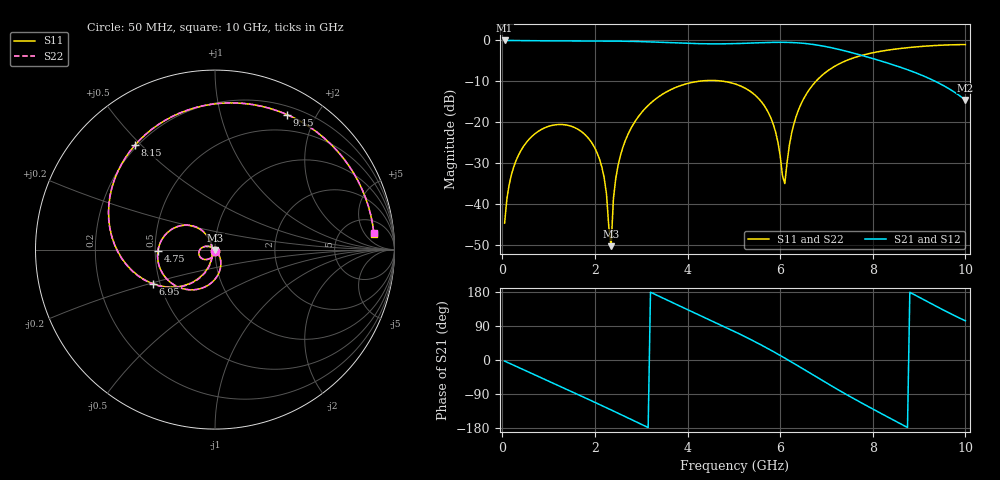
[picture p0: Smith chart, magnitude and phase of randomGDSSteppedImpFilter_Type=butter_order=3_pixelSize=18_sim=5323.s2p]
! freq	dB(S11)	phase(S11)	dB(S12)	phase(S12)
!  dB(S21)	phase(S21)	dB(S22)	phase(S22)
!S-par simulation data
#  GHz  S  DB  R 50
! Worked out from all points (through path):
!   200 points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, 50 MHz to 10 GHz, reference 50 ohm
!   highest |S21| = -0.01 dB at 50 MHz (marker M1); lowest = -14.6 dB at 10 GHz (marker M2)
!   group delay of S21, straight-line fit = 173 ps
!   lowest |S11| = -50.3 dB at 2.35 GHz (marker M3), VSWR 1.01, Z = 50.2 - j0.218 ohm
!   |S11| at or under -10 dB: start of sweep to 4.238 GHz; 4.781 GHz to 6.773 GHz (1.993 GHz wide, 34.5 % of centre)
!   |S22| runs from -50.3 to -1.0 dB; largest |S21 - S12| = 0
!   S11 on the Smith chart (normalised r, x): 50 MHz: 1.00, -0.01; 4.75 GHz: 0.52, -0.01; 6.95 GHz: 0.46, -0.21; 8.15 GHz: 0.19, +0.48; 9.15 GHz: 0.30, +1.63; 10 GHz: 10, +8
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0.05  -44.68 -89.6  -0.01 -2.9  -0.01 -2.9  -44.68 -89.6
0.2  -32.73 -100.6  -0.02 -11.3  -0.02 -11.3  -32.73 -100.6
0.55  -24.53 -121.1  -0.06 -30.8  -0.06 -30.8  -24.53 -121.1
1.75  -22.67 171.6  -0.14 -97.6  -0.14 -97.6  -22.67 171.5
2.15  -30.97 149.2  -0.15 -120.3  -0.15 -120.3  -30.97 149.1
2.35  -50.32 -45.4  -0.16 -131.7  -0.16 -131.7  -50.34 -44.7
2.45  -33.76 -48.5  -0.17 -137.5  -0.17 -137.5  -33.76 -48.5
2.6  -26.27 -57.0  -0.19 -146.2  -0.19 -146.2  -26.28 -57.0
3.4  -13.59 -103.1  -0.45 167.3  -0.45 167.3  -13.59 -103.2
4.75  -9.95 -178.8  -0.83 90.5  -0.83 90.5  -9.95 -178.9
5.05  -10.73 164.3  -0.77 73.1  -0.77 73.1  -10.73 164.0
5.75  -17.75 124.7  -0.50 29.2  -0.50 29.2  -17.77 123.8
5.95  -24.78 120.3  -0.46 15.6  -0.46 15.6  -24.87 118.2
6.1  -35.01 -156.5  -0.47 5.1  -0.47 5.1  -36.11 -153.9
6.3  -20.27 -110.4  -0.54 -9.3  -0.54 -9.3  -20.31 -108.9
6.7  -10.96 -133.6  -0.96 -38.6  -0.96 -38.6  -10.96 -133.0
6.95  -8.10 -151.0  -1.43 -56.9  -1.43 -56.9  -8.11 -150.6
7.55  -4.40 167.3  -3.00 -99.2  -3.00 -99.2  -4.40 167.5
8.15  -2.69 127.4  -4.94 -139.2  -4.94 -139.2  -2.69 127.6
8.35  -2.33 114.3  -5.64 -152.2  -5.64 -152.2  -2.33 114.5
9.15  -1.39 62.0  -8.95 156.0  -8.95 156.0  -1.39 62.2
10  -1.01 5.7  -14.58 103.6  -14.58 103.6  -1.01 5.9
